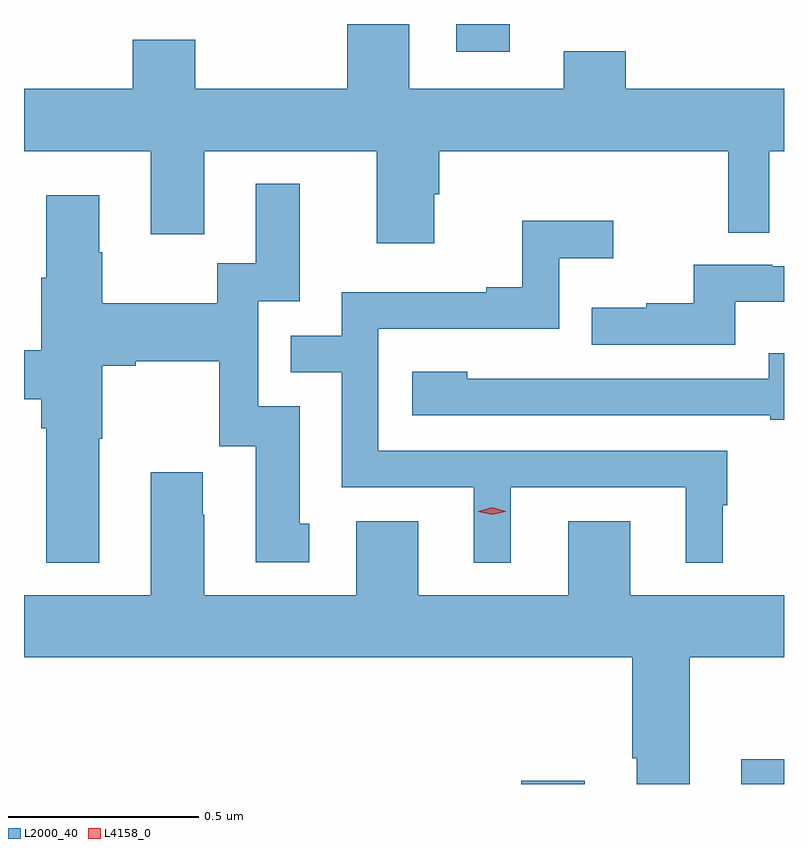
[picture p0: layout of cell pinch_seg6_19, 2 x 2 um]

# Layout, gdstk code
import gdstk
lib = gdstk.Library(unit=1e-6, precision=1e-09)
def R(c, l, rs):  # rectangles x0, y0, x1, y1
    for r in rs: c.add(gdstk.rectangle(r[:2], r[2:], *l))
def P(c, l, *ps):  # polygons
    for p in ps: c.add(gdstk.Polygon(p, *l))
L2000_40 = (2000, 40)
L4158_0 = (4158, 0)

pinch_seg6_19 = lib.new_cell('pinch_seg6_19')
R(pinch_seg6_19, L2000_40, [(963.884,956.327,964.051,956.335), (964.463,956.327,964.575,956.392), (963.713,958.254,963.853,958.327)])
P(pinch_seg6_19, L2000_40, [(964.159,958.255),(963.995,958.255),(963.995,958.156),(963.589,958.156),(963.589,958.327),(963.425,958.327),(963.425,958.156),(963.025,958.156),(963.025,958.285),(962.861,958.285),(962.861,958.156),(962.575,958.156),(962.575,957.992),(962.909,957.992),(962.909,957.774),(963.049,957.774),(963.049,957.992),(963.503,957.992),(963.503,957.75),(963.655,957.75),(963.655,957.879),(963.668,957.879),(963.668,957.992),(964.428,957.992),(964.428,957.778),(964.536,957.778),(964.536,957.992),(964.575,957.992),(964.575,958.156),(964.159,958.156)],
  [(962.773,957.235),(962.781,957.235),(962.781,957.428),(962.869,957.428),(962.869,957.44),(963.089,957.44),(963.089,957.216),(963.185,957.216),(963.185,956.91),(963.325,956.91),(963.325,957.012),(963.301,957.012),(963.301,957.321),(963.192,957.321),(963.192,957.597),(963.301,957.597),(963.301,957.907),(963.185,957.907),(963.185,957.698),(963.084,957.698),(963.084,957.592),(962.781,957.592),(962.781,957.726),(962.773,957.726),(962.773,957.877),(962.633,957.877),(962.633,957.659),(962.621,957.659),(962.621,957.469),(962.575,957.469),(962.575,957.34),(962.621,957.34),(962.621,957.263),(962.633,957.263),(962.633,956.909),(962.773,956.909)],
  [(963.856,957.108),(964.316,957.108),(964.316,956.909),(964.414,956.909),(964.414,957.06),(964.426,957.06),(964.426,957.204),(963.507,957.204),(963.507,957.525),(963.984,957.525),(963.984,957.71),(964.126,957.71),(964.126,957.809),(963.886,957.809),(963.886,957.634),(963.791,957.634),(963.791,957.621),(963.411,957.621),(963.411,957.507),(963.277,957.507),(963.277,957.411),(963.411,957.411),(963.411,957.108),(963.758,957.108),(963.758,956.909),(963.856,956.909)],
  [(964.447,957.596),(964.575,957.596),(964.575,957.69),(964.544,957.69),(964.544,957.693),(964.337,957.693),(964.337,957.592),(964.213,957.592),(964.213,957.58),(964.069,957.58),(964.069,957.483),(964.447,957.483)],
  [(964.575,957.46),(964.535,957.46),(964.535,957.393),(963.977,957.393),(963.977,957.394),(963.741,957.394),(963.741,957.412),(963.597,957.412),(963.597,957.297),(964.539,957.297),(964.539,957.285),(964.575,957.285)],
  [(964.327,956.66),(964.575,956.66),(964.575,956.824),(964.171,956.824),(964.171,957.019),(964.007,957.019),(964.007,956.824),(963.613,956.824),(963.613,957.019),(963.449,957.019),(963.449,956.824),(963.049,956.824),(963.049,957.035),(963.046,957.035),(963.046,957.148),(962.909,957.148),(962.909,956.824),(962.575,956.824),(962.575,956.66),(964.175,956.66),(964.175,956.395),(964.187,956.395),(964.187,956.327),(964.327,956.327)])
P(pinch_seg6_19, L4158_0, [(963.807,957.035),(963.771,957.044),(963.771,957.045),(963.771,957.045),(963.807,957.055),(963.843,957.045),(963.843,957.045),(963.843,957.044)])

lib.write_gds('pinch_seg6_19.gds')
